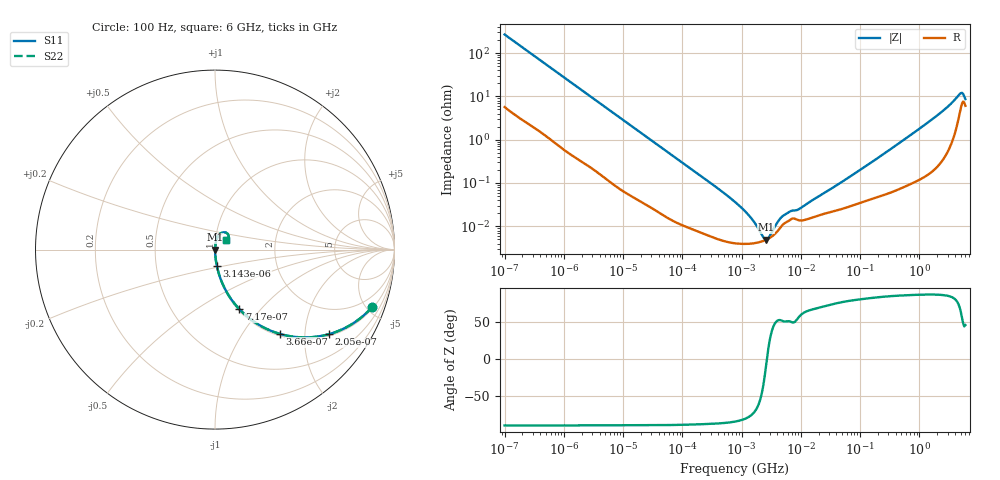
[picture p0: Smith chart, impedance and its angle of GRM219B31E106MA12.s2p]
!Murata Part Number: GRM219B31E106MA12
!These Parameters are Measured in Series Mode Connection
!Data Generated on Mar 30, 2021
!  o--ll--o
!Port1  Port2
!  o------o
!Operation Temp=25[degC], DC Bias Voltage=0[V]
!Freq. Start=100[Hz] Stop=6[GHz] 401[Steps]
# Hz S RI R 50
!Freq.(Hz) S11(Real) S11(Imag) S21(Real) S21(Imag) S12(Real) S12(Imag) S22(Real) S22(Imag)
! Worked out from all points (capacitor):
!   401 points, 100 Hz to 6 GHz, reference 50 ohm
!   read as one part in series: C = 5.88 uF near 109 Hz
!   lowest |Z| = 4.93 mohm at 2.595 MHz (marker M1)
!   series resonance near 2.676 MHz, so ESL is about 600 pH
!   S11 on the Smith chart (normalised r, x): 100 Hz: 1.11, -5.39; 205 Hz: 1.06, -2.66; 366 Hz: 1.03, -1.50; 717 Hz: 1.02, -0.77; 3.143 kHz: 1.00, -0.18; 6 GHz: 1.12, +0.12
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100  0.874 -0.3215  0.126 0.3215  0.126 0.3215  0.874 -0.3215
137  0.7918 -0.3958  0.2082 0.3958  0.2082 0.3958  0.7918 -0.3958
205  0.6358 -0.4708  0.3642 0.4708  0.3642 0.4708  0.6358 -0.4708
366  0.3622 -0.4697  0.6378 0.4697  0.6378 0.4697  0.3622 -0.4697
717  0.1352 -0.3313  0.8648 0.3313  0.8648 0.3313  0.1352 -0.3313
2008  0.0221 -0.1362  0.9779 0.1362  0.9779 0.1362  0.0221 -0.1362
3143  0.01 -0.0888  0.99 0.0888  0.99 0.0888  0.01 -0.0888
40335  0.00026 -0.00726  0.9997 0.00726  0.9997 0.00726  0.00026 -0.00726
774597  4.06e-05 -0.000363  1 0.000363  1 0.000363  4.06e-05 -0.000363
1212075  3.93e-05 -0.000202  1 0.000202  1 0.000202  3.93e-05 -0.000202
1813585  4.18e-05 -9.21e-05  1 9.21e-05  1 9.21e-05  4.18e-05 -9.21e-05
2594782  4.88e-05 -7.1e-06  1 7.1e-06  1 7.1e-06  4.88e-05 -7.1e-06
3549919  6.43e-05 6.65e-05  0.9999 -6.65e-05  0.9999 -6.65e-05  6.43e-05 6.65e-05
5311619  0.000118 0.000142  0.9999 -0.000142  0.9999 -0.000142  0.000118 0.000142
6644369  0.000142 0.000171  0.9999 -0.000171  0.9999 -0.000171  0.000142 0.000171
9506416  0.000137 0.000214  0.9999 -0.000214  0.9999 -0.000214  0.000137 0.000214
1.555665e7  0.00016 0.000366  0.9998 -0.000366  0.9998 -0.000366  0.00016 0.000366
3.124326e8  0.000619 0.00576  0.9994 -0.00576  0.9994 -0.00576  0.000619 0.00576
1.95892e9  0.00352 0.0352  0.9965 -0.0352  0.9965 -0.0352  0.00352 0.0352
4.796499e9  0.0483 0.0967  0.9517 -0.0967  0.9517 -0.0967  0.0483 0.0967
5.245841e9  0.0716 0.0874  0.9284 -0.0874  0.9284 -0.0874  0.0716 0.0874
6e9  0.0604 0.0548  0.9396 -0.0548  0.9396 -0.0548  0.0604 0.0548
